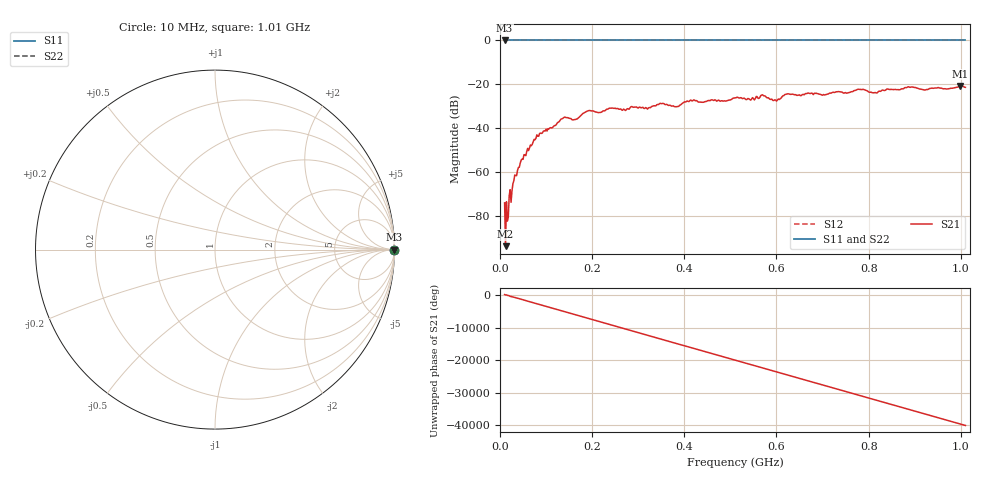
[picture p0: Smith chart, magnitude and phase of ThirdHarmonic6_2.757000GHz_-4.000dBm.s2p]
! 8/17/2025 6:55:55 AM
! C:\ANRITSUVNA\TEMP\TEMP.S2P
! CHANNEL.1
! TR.MEASUREMENT
! RAW.DATA
! RF.CORRECTION.OFF
! AVERAGING.OFF
! IF.BANDWIDTH: 5KHZ
! SWEEPTYPE:  FREQ.SWEEP(Linear)
! Reference Plane Port Info
! PORT:  PORT1  PORT2
! DISTANCE:  0  m  0  m
! TIME:  0  s  0  s
! PHASE.OFFSET:  0  deg.  0  deg.
! LOSS:  0  dB  0  dB
! REF.LOSS:  0  dB  0  dB
! REF.FREQ:  0  Hz  0  Hz
! Power Info
! POWER:  -20  dBm  -20  dBm
! EFF.POWER:  -20  dBm  -20  dBm
! SOURCE.ATTEN:  0  dB  0  dB
! TEST.ATTEN:  0  dB  0  dB
# GHZ S RI R 50.0
! FREQ.GHZ  S11RE  S11IM  S21RE  S21IM  S12RE  S12IM  S22RE  S22IM
!; PortSelection: Port_12
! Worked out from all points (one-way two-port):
!   501 points, 10 MHz to 1.01 GHz, reference 50 ohm
!   highest |S21| = -20.69 dB at 998 MHz (marker M1); lowest = -93.6 dB at 12 MHz (marker M2)
!   lowest |S11| = 0.0 dB at 10 MHz (marker M3)
!   |S11| at or under -10 dB: nowhere
!   |S22| runs from 0.0 to 0.0 dB; largest |S21 - S12| = 1.1
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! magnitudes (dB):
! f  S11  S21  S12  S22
! 10 MHz  0.0  -73.9  0.0  0.0
! 12 MHz  0.0  -93.6  0.0  0.0
! 14 MHz  0.0  -73.4  0.0  0.0
! 20 MHz  0.0  -70.6  0.0  0.0
! 30 MHz  0.0  -63.9  0.0  0.0
! 44 MHz  0.0  -55.7  0.0  0.0
! 78 MHz  0.0  -44.5  0.0  0.0
! 136 MHz  0.0  -35.5  0.0  0.0
! 162 MHz  0.0  -36.1  0.0  0.0
! 178 MHz  0.0  -33.6  0.0  0.0
! 344 MHz  0.0  -29.2  0.0  0.0
! 384 MHz  0.0  -30.1  0.0  0.0
! 416 MHz  0.0  -27.4  0.0  0.0
! 510 MHz  0.0  -26.1  0.0  0.0
! 548 MHz  0.0  -26.0  0.0  0.0
! 570 MHz  0.0  -24.7  0.0  0.0
! 596 MHz  0.0  -27.0  0.0  0.0
! 622 MHz  0.0  -24.4  0.0  0.0
! 678 MHz  0.0  -24.1  0.0  0.0
! 844 MHz  0.0  -22.3  0.0  0.0
! 998 MHz  0.0  -20.7  0.0  0.0
! 1.01 GHz  0.0  -21.3  0.0  0.0
